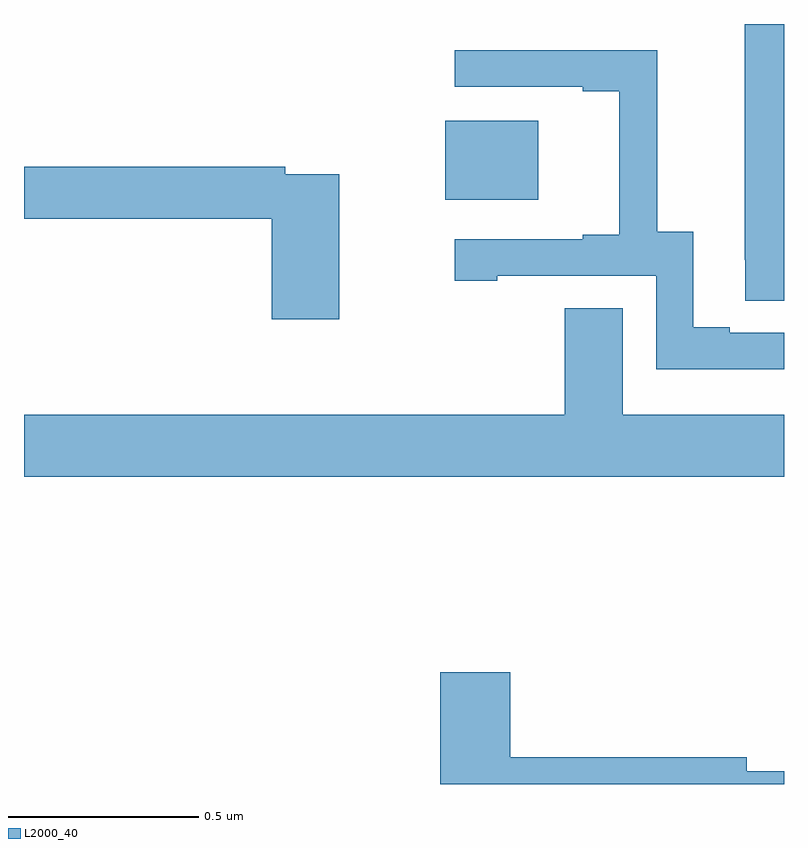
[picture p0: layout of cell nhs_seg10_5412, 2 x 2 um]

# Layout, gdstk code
import gdstk
lib = gdstk.Library(unit=1e-6, precision=1e-09)
def R(c, l, rs):  # rectangles x0, y0, x1, y1
    for r in rs: c.add(gdstk.rectangle(r[:2], r[2:], *l))
def P(c, l, *ps):  # polygons
    for p in ps: c.add(gdstk.Polygon(p, *l))
L2000_40 = (2000, 40)

nhs_seg10_5412 = lib.new_cell('nhs_seg10_5412')
R(nhs_seg10_5412, L2000_40, [(179.108,1309.037,179.353,1309.246)])
P(nhs_seg10_5412, L2000_40, [(180,1309.5),(179.897,1309.5),(179.897,1308.88),(179.898,1308.88),(179.898,1308.772),(180,1308.772)],
  [(180,1308.687),(179.857,1308.687),(179.857,1308.702),(179.761,1308.702),(179.761,1308.953),(179.667,1308.953),(179.667,1309.431),(179.133,1309.431),(179.133,1309.335),(179.471,1309.335),(179.471,1309.323),(179.567,1309.323),(179.567,1308.946),(179.471,1308.946),(179.471,1308.933),(179.133,1308.933),(179.133,1308.825),(179.245,1308.825),(179.245,1308.837),(179.664,1308.837),(179.664,1308.591),(180,1308.591)],
  [(178.83,1309.104),(178.688,1309.104),(178.688,1309.124),(178,1309.124),(178,1308.988),(178.652,1308.988),(178.652,1308.723),(178.83,1308.723)],
  [(180,1308.472),(179.575,1308.472),(179.575,1308.752),(179.423,1308.752),(179.423,1308.472),(178,1308.472),(178,1308.308),(180,1308.308)],
  [(180,1307.534),(179.902,1307.534),(179.902,1307.57),(179.279,1307.57),(179.279,1307.794),(179.096,1307.794),(179.096,1307.5),(180,1307.5)])

lib.write_gds('nhs_seg10_5412.gds')
